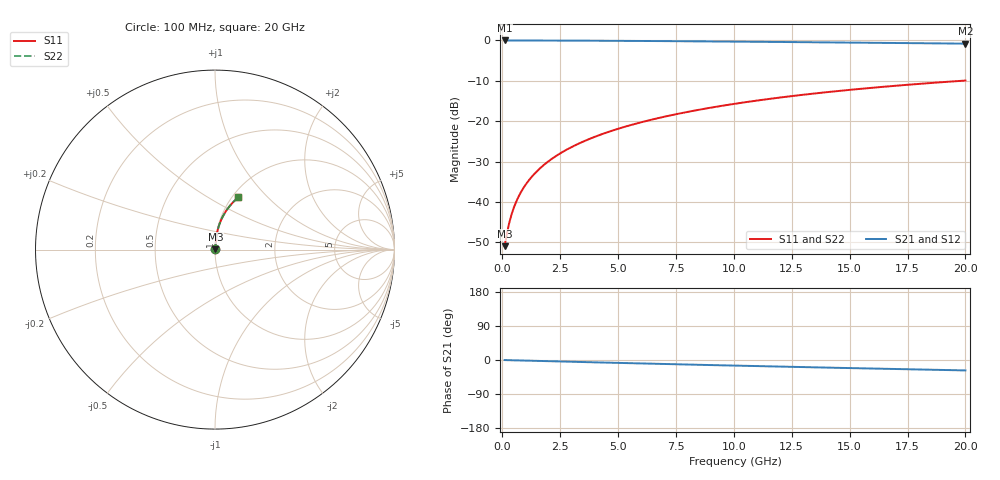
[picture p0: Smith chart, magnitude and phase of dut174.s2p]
! Touchstone file exported from HFSS 2024.1.0
!  File:  C:/UserFiles/LocalFiles/RDL_TSV_Batchsim/temp_RDL_bottom_174_1778698410.aedt
!  Generated:  02:56:15 AM May 14, 2026
!  Design:  RDL_bottom
!  Project:  temp_RDL_bottom_174_1778698410
!  Setup:  Setup1
!  Solution:  Sweep
! Variables:
!  dtsv = 10.80580581um
!  hbump = 3um
!  htsv = 74.75um
!  ldown = 329.32um
!  lrdl = 100um
!  p = 40
!  p1 = 52.04um
!  rhole = 1um
!  t = 450um
!  tdown = 3.27um
!  trdl = 3.915915916um
!  wdown = 16.89um
!  wrdl = 20um
# GHz S MA R 50.000000
! Terminal data exported
! Port[1] = RDL1_T1
! Port[2] = RDL1_T2
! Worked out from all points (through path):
!   200 points, 100 MHz to 20 GHz, reference 50 ohm
!   highest |S21| = -0.02 dB at 100 MHz (marker M1); lowest = -0.8 dB at 20 GHz (marker M2)
!   group delay of S21, straight-line fit = 3.8 ps
!   lowest |S11| = -50.9 dB at 100 MHz (marker M3), VSWR 1.01, Z = 50.2 + j0.169 ohm
!   |S11| at or under -10 dB: start of sweep to 19.84 GHz
!   |S22| runs from -50.9 to -9.9 dB; largest |S21 - S12| = 3e-15
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0.1  0.002845 36.1  0.9977 -0.2  0.9977 -0.2  0.002845 36.1
! Gamma 0 0 0 0
! Port Impedance 50 0 50 0
0.2  0.004082 54.8  0.9976 -0.3  0.9976 -0.3  0.004082 54.8
0.3  0.005525 63.9  0.9975 -0.5  0.9975 -0.5  0.005525 63.9
0.4  0.007028 69.1  0.9975 -0.6  0.9975 -0.6  0.007028 69.1
0.5  0.00855 72.4  0.9974 -0.8  0.9974 -0.8  0.00855 72.4
0.6  0.01008 74.8  0.9973 -1.0  0.9973 -1.0  0.01008 74.8
0.8  0.01317 77.9  0.9971 -1.3  0.9971 -1.3  0.01317 77.9
1.1  0.01783 80.5  0.9968 -1.7  0.9968 -1.7  0.01783 80.5
1.5  0.02411 82.4  0.9963 -2.4  0.9963 -2.4  0.02411 82.4
1.8  0.02885 83.2  0.9958 -2.8  0.9958 -2.8  0.02885 83.2
2.1  0.03361 83.7  0.9953 -3.3  0.9953 -3.3  0.03361 83.7
2.7  0.04319 84.2  0.9941 -4.2  0.9941 -4.2  0.04319 84.2
3.5  0.05608 84.3  0.9921 -5.4  0.9921 -5.4  0.05608 84.3
4.2  0.06746 84.1  0.99 -6.5  0.99 -6.5  0.06746 84.1
5  0.08057 83.7  0.9873 -7.7  0.9873 -7.7  0.08057 83.7
5.9  0.09543 83.0  0.984 -9.0  0.984 -9.0  0.09543 83.0
6.8  0.1104 82.2  0.9803 -10.3  0.9803 -10.3  0.1104 82.2
8.4  0.137 80.5  0.9732 -12.5  0.9732 -12.5  0.137 80.5
10.1  0.1653 78.5  0.9651 -14.9  0.9651 -14.9  0.1653 78.5
13.4  0.219 74.4  0.9482 -19.3  0.9482 -19.3  0.219 74.4
16.7  0.2703 70.2  0.9301 -23.5  0.9301 -23.5  0.2703 70.2
20  0.3184 66.0  0.9111 -27.5  0.9111 -27.5  0.3185 66.0
